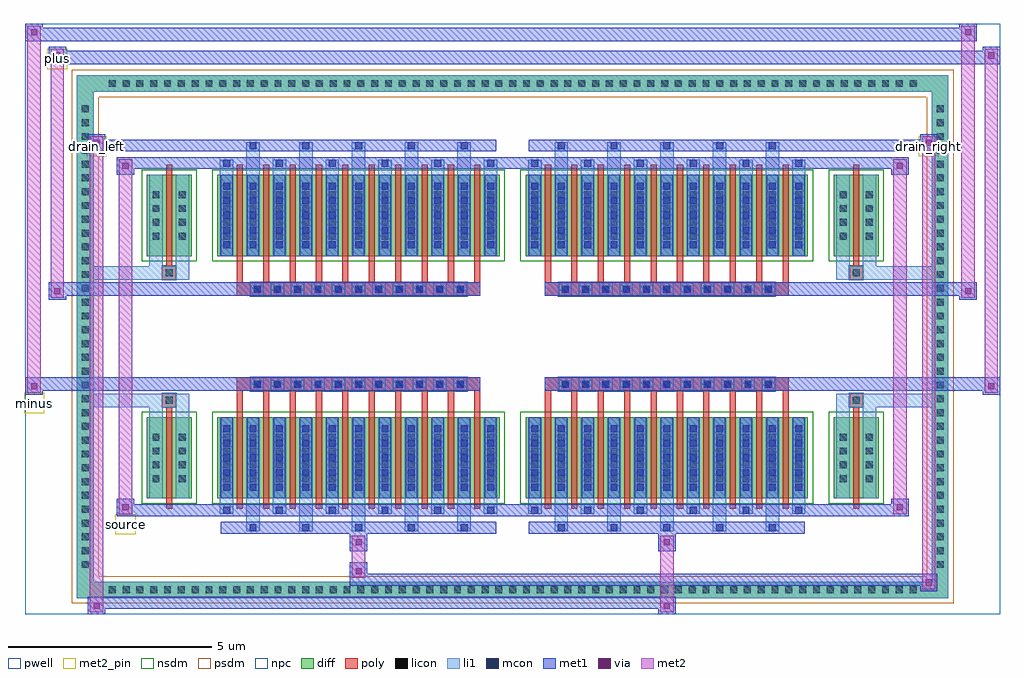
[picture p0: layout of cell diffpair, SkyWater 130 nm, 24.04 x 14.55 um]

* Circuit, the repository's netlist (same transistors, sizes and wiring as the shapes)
* NGSPICE file created from diffpair.ext - technology: sky130A

.subckt diffpair minus drain_right drain_left source plus
X0 drain_left plus source a_n2146_n1288# sky130_fd_pr__nfet_01v8 ad=0.5 pd=2.5 as=0.5 ps=2.5 w=2 l=0.15
X1 source minus drain_right a_n2146_n1288# sky130_fd_pr__nfet_01v8 ad=0.5 pd=2.5 as=0.5 ps=2.5 w=2 l=0.15
X2 a_n2146_n1288# a_n2146_n1288# a_n2146_n1288# a_n2146_n1288# sky130_fd_pr__nfet_01v8 ad=0.95 pd=4.95 as=7.6 ps=39.6 w=2 l=0.15
X3 source minus drain_right a_n2146_n1288# sky130_fd_pr__nfet_01v8 ad=0.95 pd=4.95 as=0.5 ps=2.5 w=2 l=0.15
X4 drain_right minus source a_n2146_n1288# sky130_fd_pr__nfet_01v8 ad=0.5 pd=2.5 as=0.95 ps=4.95 w=2 l=0.15
X5 a_n2146_n1288# a_n2146_n1288# a_n2146_n1288# a_n2146_n1288# sky130_fd_pr__nfet_01v8 ad=0.95 pd=4.95 as=0 ps=0 w=2 l=0.15
X6 source plus drain_left a_n2146_n1288# sky130_fd_pr__nfet_01v8 ad=0.5 pd=2.5 as=0.5 ps=2.5 w=2 l=0.15
X7 drain_left plus source a_n2146_n1288# sky130_fd_pr__nfet_01v8 ad=0.5 pd=2.5 as=0.5 ps=2.5 w=2 l=0.15
X8 source minus drain_right a_n2146_n1288# sky130_fd_pr__nfet_01v8 ad=0.5 pd=2.5 as=0.5 ps=2.5 w=2 l=0.15
X9 drain_left plus source a_n2146_n1288# sky130_fd_pr__nfet_01v8 ad=0.5 pd=2.5 as=0.5 ps=2.5 w=2 l=0.15
X10 source plus drain_left a_n2146_n1288# sky130_fd_pr__nfet_01v8 ad=0.5 pd=2.5 as=0.5 ps=2.5 w=2 l=0.15
X11 a_n2146_n1288# a_n2146_n1288# a_n2146_n1288# a_n2146_n1288# sky130_fd_pr__nfet_01v8 ad=0.95 pd=4.95 as=0 ps=0 w=2 l=0.15
X12 drain_right minus source a_n2146_n1288# sky130_fd_pr__nfet_01v8 ad=0.5 pd=2.5 as=0.5 ps=2.5 w=2 l=0.15
X13 drain_left plus source a_n2146_n1288# sky130_fd_pr__nfet_01v8 ad=0.5 pd=2.5 as=0.5 ps=2.5 w=2 l=0.15
X14 source minus drain_right a_n2146_n1288# sky130_fd_pr__nfet_01v8 ad=0.5 pd=2.5 as=0.5 ps=2.5 w=2 l=0.15
X15 a_n2146_n1288# a_n2146_n1288# a_n2146_n1288# a_n2146_n1288# sky130_fd_pr__nfet_01v8 ad=0.95 pd=4.95 as=0 ps=0 w=2 l=0.15
X16 source minus drain_right a_n2146_n1288# sky130_fd_pr__nfet_01v8 ad=0.5 pd=2.5 as=0.5 ps=2.5 w=2 l=0.15
X17 drain_right minus source a_n2146_n1288# sky130_fd_pr__nfet_01v8 ad=0.5 pd=2.5 as=0.95 ps=4.95 w=2 l=0.15
X18 drain_right minus source a_n2146_n1288# sky130_fd_pr__nfet_01v8 ad=0.5 pd=2.5 as=0.5 ps=2.5 w=2 l=0.15
X19 source plus drain_left a_n2146_n1288# sky130_fd_pr__nfet_01v8 ad=0.5 pd=2.5 as=0.5 ps=2.5 w=2 l=0.15
X20 source minus drain_right a_n2146_n1288# sky130_fd_pr__nfet_01v8 ad=0.5 pd=2.5 as=0.5 ps=2.5 w=2 l=0.15
X21 drain_right minus source a_n2146_n1288# sky130_fd_pr__nfet_01v8 ad=0.5 pd=2.5 as=0.5 ps=2.5 w=2 l=0.15
X22 drain_right minus source a_n2146_n1288# sky130_fd_pr__nfet_01v8 ad=0.5 pd=2.5 as=0.5 ps=2.5 w=2 l=0.15
X23 drain_right minus source a_n2146_n1288# sky130_fd_pr__nfet_01v8 ad=0.5 pd=2.5 as=0.5 ps=2.5 w=2 l=0.15
X24 source plus drain_left a_n2146_n1288# sky130_fd_pr__nfet_01v8 ad=0.5 pd=2.5 as=0.5 ps=2.5 w=2 l=0.15
X25 drain_left plus source a_n2146_n1288# sky130_fd_pr__nfet_01v8 ad=0.5 pd=2.5 as=0.5 ps=2.5 w=2 l=0.15
X26 source plus drain_left a_n2146_n1288# sky130_fd_pr__nfet_01v8 ad=0.95 pd=4.95 as=0.5 ps=2.5 w=2 l=0.15
X27 drain_right minus source a_n2146_n1288# sky130_fd_pr__nfet_01v8 ad=0.5 pd=2.5 as=0.5 ps=2.5 w=2 l=0.15
X28 drain_right minus source a_n2146_n1288# sky130_fd_pr__nfet_01v8 ad=0.5 pd=2.5 as=0.5 ps=2.5 w=2 l=0.15
X29 source minus drain_right a_n2146_n1288# sky130_fd_pr__nfet_01v8 ad=0.5 pd=2.5 as=0.5 ps=2.5 w=2 l=0.15
X30 source minus drain_right a_n2146_n1288# sky130_fd_pr__nfet_01v8 ad=0.5 pd=2.5 as=0.5 ps=2.5 w=2 l=0.15
X31 drain_left plus source a_n2146_n1288# sky130_fd_pr__nfet_01v8 ad=0.5 pd=2.5 as=0.5 ps=2.5 w=2 l=0.15
X32 source minus drain_right a_n2146_n1288# sky130_fd_pr__nfet_01v8 ad=0.5 pd=2.5 as=0.5 ps=2.5 w=2 l=0.15
X33 source plus drain_left a_n2146_n1288# sky130_fd_pr__nfet_01v8 ad=0.95 pd=4.95 as=0.5 ps=2.5 w=2 l=0.15
X34 drain_left plus source a_n2146_n1288# sky130_fd_pr__nfet_01v8 ad=0.5 pd=2.5 as=0.95 ps=4.95 w=2 l=0.15
X35 drain_left plus source a_n2146_n1288# sky130_fd_pr__nfet_01v8 ad=0.5 pd=2.5 as=0.95 ps=4.95 w=2 l=0.15
X36 source plus drain_left a_n2146_n1288# sky130_fd_pr__nfet_01v8 ad=0.5 pd=2.5 as=0.5 ps=2.5 w=2 l=0.15
X37 source plus drain_left a_n2146_n1288# sky130_fd_pr__nfet_01v8 ad=0.5 pd=2.5 as=0.5 ps=2.5 w=2 l=0.15
X38 source minus drain_right a_n2146_n1288# sky130_fd_pr__nfet_01v8 ad=0.95 pd=4.95 as=0.5 ps=2.5 w=2 l=0.15
X39 drain_right minus source a_n2146_n1288# sky130_fd_pr__nfet_01v8 ad=0.5 pd=2.5 as=0.5 ps=2.5 w=2 l=0.15
X40 source plus drain_left a_n2146_n1288# sky130_fd_pr__nfet_01v8 ad=0.5 pd=2.5 as=0.5 ps=2.5 w=2 l=0.15
X41 drain_left plus source a_n2146_n1288# sky130_fd_pr__nfet_01v8 ad=0.5 pd=2.5 as=0.5 ps=2.5 w=2 l=0.15
X42 drain_left plus source a_n2146_n1288# sky130_fd_pr__nfet_01v8 ad=0.5 pd=2.5 as=0.5 ps=2.5 w=2 l=0.15
X43 source plus drain_left a_n2146_n1288# sky130_fd_pr__nfet_01v8 ad=0.5 pd=2.5 as=0.5 ps=2.5 w=2 l=0.15
.ends

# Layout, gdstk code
import gdstk
lib = gdstk.Library(unit=1e-6, precision=5e-09)
def R(c, l, rs):  # rectangles x0, y0, x1, y1
    for r in rs: c.add(gdstk.rectangle(r[:2], r[2:], *l))
def A(c, l, x, y, w, h, nx, ny, dx, dy):  # array of equal rectangles
    R(c, l, [(x+i*dx, y+j*dy, x+i*dx+w, y+j*dy+h) for i in range(nx) for j in range(ny)])
def P(c, l, *ps):  # polygons
    for p in ps: c.add(gdstk.Polygon(p, *l))
pwell = (64, 44)
diff = (65, 20)
poly = (66, 20)
licon = (66, 44)
li1 = (67, 20)
mcon = (67, 44)
met1 = (68, 20)
via = (68, 44)
met2_pin = (69, 16)
met2 = (69, 20)
nsdm = (93, 44)
psdm = (94, 20)
npc = (95, 20)

diffpair = lib.new_cell('diffpair')
R(diffpair, pwell, [(-12,-6.84,12,7.71), (-9.32,-5.03,-0.01,-0.805), (0.01,-5.03,9.32,-0.805), (-9.32,0.805,-0.01,5.03), (0.01,0.805,9.32,5.03)])
A(diffpair, diff, -10.065, -6.44, 0.41, 0.41, 59, 2, 0.34, 12.47)
A(diffpair, diff, -10.73, -5.815, 0.41, 0.41, 1, 34, 0, 0.34)
A(diffpair, diff, 10.32, -5.815, 0.41, 0.41, 1, 34, 0, 0.34)
R(diffpair, diff, [(-10.065,-6.44,10.065,-6.03), (-10.73,-5.815,-10.32,5.815), (10.32,-5.815,10.73,5.815), (-9.01,-3.985,-7.91,-1.985), (-7.27,-3.985,-0.32,-1.985), (0.32,-3.985,7.27,-1.985), (7.91,-3.985,9.01,-1.985), (-9.01,1.985,-7.91,3.985), (-7.27,1.985,-0.32,3.985), (0.32,1.985,7.27,3.985), (7.91,1.985,9.01,3.985), (-10.065,6.03,10.065,6.44)])
P(diffpair, diff, [(10.73,6.44),(-10.73,6.44),(-10.73,-6.03),(-10.32,-6.03),(-10.32,6.03),(10.32,6.03),(10.32,-6.03),(-10.32,-6.03),(-10.73,-6.03),(-10.73,-6.44),(10.73,-6.44)])
A(diffpair, poly, -6.795, -4.235, 0.15, 2.5, 10, 2, 0.65, 5.97)
A(diffpair, poly, 0.795, -4.235, 0.15, 2.5, 10, 2, 0.65, 5.97)
A(diffpair, poly, -6.795, -1.735, 0.15, 0.4, 10, 2, 0.65, 3.07)
A(diffpair, poly, 0.795, -1.735, 0.15, 0.4, 10, 2, 0.65, 3.07)
A(diffpair, poly, -6.46, -1.335, 0.33, 0.33, 11, 2, 0.5, 2.34)
A(diffpair, poly, 1.13, -1.335, 0.33, 0.33, 11, 2, 0.5, 2.34)
R(diffpair, poly, [(-8.535,-4.235,-8.385,-1.735), (8.385,-4.235,8.535,-1.735), (-8.625,-1.735,-8.295,-1.405), (-8.625,-1.735,-8.295,-1.405), (8.295,-1.735,8.625,-1.405), (8.295,-1.735,8.625,-1.405), (-6.795,-1.335,-0.795,-1.005), (0.795,-1.335,6.795,-1.005), (-6.795,1.005,-0.795,1.335), (0.795,1.005,6.795,1.335), (-8.625,1.405,-8.295,1.735), (-8.625,1.405,-8.295,1.735), (8.295,1.405,8.625,1.735), (8.295,1.405,8.625,1.735), (-8.535,1.735,-8.385,4.235), (8.385,1.735,8.535,4.235)])
A(diffpair, licon, -9.945, -6.32, 0.17, 0.17, 59, 2, 0.34, 12.47)
A(diffpair, licon, -10.61, -5.695, 0.17, 0.17, 1, 34, 0, 0.34)
A(diffpair, licon, 10.44, -5.695, 0.17, 0.17, 1, 34, 0, 0.34)
A(diffpair, licon, -8.87, -3.58, 0.17, 0.17, 1, 4, 0, 0.34)
A(diffpair, licon, -8.22, -3.58, 0.17, 0.17, 1, 4, 0, 0.34)
A(diffpair, licon, -7.13, -3.58, 0.17, 0.17, 11, 4, 0.65, 0.34)
A(diffpair, licon, 0.46, -3.58, 0.17, 0.17, 11, 4, 0.65, 0.34)
A(diffpair, licon, 8.05, -3.58, 0.17, 0.17, 1, 4, 0, 0.34)
A(diffpair, licon, 8.7, -3.58, 0.17, 0.17, 1, 4, 0, 0.34)
A(diffpair, licon, -6.38, -1.255, 0.17, 0.17, 11, 2, 0.5, 2.34)
A(diffpair, licon, 1.21, -1.255, 0.17, 0.17, 11, 2, 0.5, 2.34)
A(diffpair, licon, -8.87, 2.39, 0.17, 0.17, 1, 4, 0, 0.34)
A(diffpair, licon, -8.22, 2.39, 0.17, 0.17, 1, 4, 0, 0.34)
A(diffpair, licon, -7.13, 2.39, 0.17, 0.17, 11, 4, 0.65, 0.34)
A(diffpair, licon, 0.46, 2.39, 0.17, 0.17, 11, 4, 0.65, 0.34)
A(diffpair, licon, 8.05, 2.39, 0.17, 0.17, 1, 4, 0, 0.34)
A(diffpair, licon, 8.7, 2.39, 0.17, 0.17, 1, 4, 0, 0.34)
R(diffpair, licon, [(-8.545,-1.655,-8.375,-1.485), (8.375,-1.655,8.545,-1.485), (-8.545,1.485,-8.375,1.655), (8.375,1.485,8.545,1.655)])
A(diffpair, li1, -10.025, -6.4, 0.33, 0.33, 59, 2, 0.34, 12.47)
A(diffpair, li1, -10.69, -5.775, 0.33, 0.33, 1, 34, 0, 0.34)
A(diffpair, li1, 10.36, -5.775, 0.33, 0.33, 1, 34, 0, 0.34)
A(diffpair, li1, -6.56, -4.79, 0.33, 0.805, 5, 2, 1.3, 8.775)
A(diffpair, li1, -6.48, -4.79, 0.17, 0.17, 5, 2, 1.3, 9.41)
A(diffpair, li1, 1.03, -4.79, 0.33, 0.805, 5, 2, 1.3, 8.775)
A(diffpair, li1, 1.11, -4.79, 0.17, 0.17, 5, 2, 1.3, 9.41)
A(diffpair, li1, -7.21, -4.36, 0.33, 0.375, 6, 2, 1.3, 8.345)
A(diffpair, li1, -7.13, -4.36, 0.17, 0.17, 6, 2, 1.3, 8.55)
A(diffpair, li1, 0.38, -4.36, 0.33, 0.375, 6, 2, 1.3, 8.345)
A(diffpair, li1, 0.46, -4.36, 0.17, 0.17, 6, 2, 1.3, 8.55)
A(diffpair, li1, -7.21, -3.985, 0.33, 2, 11, 2, 0.65, 5.97)
A(diffpair, li1, 0.38, -3.985, 0.33, 2, 11, 2, 0.65, 5.97)
A(diffpair, li1, -7.13, -3.79, 0.17, 0.17, 11, 5, 0.65, 0.36)
A(diffpair, li1, -7.13, -3.79, 0.17, 1.61, 11, 2, 0.65, 5.97)
A(diffpair, li1, 0.46, -3.79, 0.17, 0.17, 11, 5, 0.65, 0.36)
A(diffpair, li1, 0.46, -3.79, 0.17, 1.61, 11, 2, 0.65, 5.97)
A(diffpair, li1, -8.95, -3.66, 0.33, 0.33, 1, 4, 0, 0.34)
A(diffpair, li1, -8.3, -3.66, 0.33, 0.33, 1, 4, 0, 0.34)
A(diffpair, li1, -7.21, -3.66, 0.33, 0.33, 11, 4, 0.65, 0.34)
A(diffpair, li1, 0.38, -3.66, 0.33, 0.33, 11, 4, 0.65, 0.34)
A(diffpair, li1, 7.97, -3.66, 0.33, 0.33, 1, 4, 0, 0.34)
A(diffpair, li1, 8.62, -3.66, 0.33, 0.33, 1, 4, 0, 0.34)
A(diffpair, li1, -6.46, -1.335, 0.33, 0.33, 11, 2, 0.5, 2.34)
A(diffpair, li1, 1.13, -1.335, 0.33, 0.33, 11, 2, 0.5, 2.34)
A(diffpair, li1, -7.13, 2.18, 0.17, 0.17, 11, 5, 0.65, 0.36)
A(diffpair, li1, 0.46, 2.18, 0.17, 0.17, 11, 5, 0.65, 0.36)
A(diffpair, li1, -8.95, 2.31, 0.33, 0.33, 1, 4, 0, 0.34)
A(diffpair, li1, -8.3, 2.31, 0.33, 0.33, 1, 4, 0, 0.34)
A(diffpair, li1, -7.21, 2.31, 0.33, 0.33, 11, 4, 0.65, 0.34)
A(diffpair, li1, 0.38, 2.31, 0.33, 0.33, 11, 4, 0.65, 0.34)
A(diffpair, li1, 7.97, 2.31, 0.33, 0.33, 1, 4, 0, 0.34)
A(diffpair, li1, 8.62, 2.31, 0.33, 0.33, 1, 4, 0, 0.34)
R(diffpair, li1, [(-10.73,-6.44,-10.32,-6.03), (-10.73,-6.44,-10.32,-6.03), (-10.32,-6.44,10.32,-6.03), (10.32,-6.44,10.73,-6.03), (10.32,-6.44,10.73,-6.03), (-10.73,-6.03,-10.32,6.03), (10.32,-6.03,10.73,6.03), (-8.95,-3.985,-8.62,-1.985), (-8.3,-3.985,-7.97,-1.985), (7.97,-3.985,8.3,-1.985), (8.62,-3.985,8.95,-1.985), (-8.95,-1.985,-8.62,-1.405), (-8.3,-1.985,-7.97,-1.405), (7.97,-1.985,8.3,-1.405), (8.62,-1.985,8.95,-1.405), (-10.73,-1.735,-8.625,-1.405), (-8.95,-1.735,-8.625,-1.405), (-8.625,-1.735,-8.295,-1.405), (-8.295,-1.735,-7.97,-1.405), (7.97,-1.735,8.295,-1.405), (8.295,-1.735,8.625,-1.405), (8.295,-1.735,10.73,-1.405), (8.625,-1.735,8.95,-1.405), (-10.73,1.405,-8.625,1.735), (-8.95,1.405,-8.625,1.735), (-8.95,1.405,-8.62,1.985), (-8.625,1.405,-8.295,1.735), (-8.3,1.405,-7.97,1.985), (-8.295,1.405,-7.97,1.735), (7.97,1.405,8.295,1.735), (7.97,1.405,8.3,1.985), (8.295,1.405,8.625,1.735), (8.295,1.405,10.73,1.735), (8.62,1.405,8.95,1.985), (8.625,1.405,8.95,1.735), (-8.95,1.985,-8.62,3.985), (-8.3,1.985,-7.97,3.985), (7.97,1.985,8.3,3.985), (8.62,1.985,8.95,3.985), (-10.73,6.03,-10.32,6.44), (-10.73,6.03,-10.32,6.44), (-10.32,6.03,10.32,6.44), (10.32,6.03,10.73,6.44), (10.32,6.03,10.73,6.44)])
A(diffpair, mcon, -6.48, -4.79, 0.17, 0.17, 5, 2, 1.3, 9.41)
A(diffpair, mcon, 1.11, -4.79, 0.17, 0.17, 5, 2, 1.3, 9.41)
A(diffpair, mcon, -7.13, -4.36, 0.17, 0.17, 6, 2, 1.3, 8.55)
A(diffpair, mcon, 0.46, -4.36, 0.17, 0.17, 6, 2, 1.3, 8.55)
A(diffpair, mcon, -7.13, -3.79, 0.17, 0.17, 11, 5, 0.65, 0.36)
A(diffpair, mcon, 0.46, -3.79, 0.17, 0.17, 11, 5, 0.65, 0.36)
A(diffpair, mcon, -6.38, -1.255, 0.17, 0.17, 11, 2, 0.5, 2.34)
A(diffpair, mcon, 1.21, -1.255, 0.17, 0.17, 11, 2, 0.5, 2.34)
A(diffpair, mcon, -7.13, 2.18, 0.17, 0.17, 11, 5, 0.65, 0.36)
A(diffpair, mcon, 0.46, 2.18, 0.17, 0.17, 11, 5, 0.65, 0.36)
A(diffpair, met1, -6.54, -4.85, 0.29, 0.29, 5, 2, 1.3, 9.41)
A(diffpair, met1, 1.05, -4.85, 0.29, 0.29, 5, 2, 1.3, 9.41)
A(diffpair, met1, -7.19, -4.42, 0.29, 0.29, 6, 2, 1.3, 8.55)
A(diffpair, met1, 0.4, -4.42, 0.29, 0.29, 6, 2, 1.3, 8.55)
A(diffpair, met1, -7.19, -3.985, 0.29, 2, 11, 2, 0.65, 5.97)
A(diffpair, met1, 0.4, -3.985, 0.29, 2, 11, 2, 0.65, 5.97)
A(diffpair, met1, -7.19, -3.85, 0.29, 0.29, 11, 5, 0.65, 0.36)
A(diffpair, met1, 0.4, -3.85, 0.29, 0.29, 11, 5, 0.65, 0.36)
A(diffpair, met1, -6.44, -1.315, 0.29, 0.29, 11, 2, 0.5, 2.34)
A(diffpair, met1, 1.15, -1.315, 0.29, 0.29, 11, 2, 0.5, 2.34)
A(diffpair, met1, -7.19, 2.12, 0.29, 0.29, 11, 5, 0.65, 0.36)
A(diffpair, met1, 0.4, 2.12, 0.29, 0.29, 11, 5, 0.65, 0.36)
R(diffpair, met1, [(-10.46,-6.84,-10.03,-6.41), (3.58,-6.84,4.01,-6.41), (-10.46,-6.7,4.01,-6.41), (10.03,-6.27,10.46,-5.84), (-4.01,-6.13,10.46,-5.84), (-4.01,-5.99,-3.58,-5.56), (-4.01,-5.28,-3.58,-4.85), (3.58,-5.28,4.01,-4.85), (-7.19,-4.85,-0.4,-4.56), (0.4,-4.85,7.19,-4.56), (-9.75,-4.42,-9.32,-3.99), (-9.75,-4.42,-7.19,-4.13), (-7.19,-4.42,-0.4,-4.13), (-0.4,-4.42,0.4,-4.13), (0.4,-4.42,7.19,-4.13), (7.19,-4.42,9.75,-4.13), (9.32,-4.42,9.75,-3.99), (-12,-1.435,-11.57,-1.005), (11.57,-1.435,12,-1.005), (-12,-1.335,-0.795,-1.005), (-6.795,-1.335,-0.795,-1.005), (0.795,-1.335,6.795,-1.005), (0.795,-1.335,12,-1.005), (-11.43,0.905,-11,1.335), (11,0.905,11.43,1.335), (-11.43,1.005,-6.795,1.335), (-6.795,1.005,-0.795,1.335), (0.795,1.005,6.795,1.335), (6.795,1.005,11.43,1.335), (-9.75,3.99,-9.32,4.42), (9.32,3.99,9.75,4.42), (-9.75,4.13,-7.19,4.42), (-7.19,4.13,-0.4,4.42), (-0.4,4.13,0.4,4.42), (0.4,4.13,7.19,4.42), (7.19,4.13,9.75,4.42), (-10.46,4.56,-10.03,4.99), (-10.46,4.56,-7.19,4.85), (-7.19,4.56,-0.4,4.85), (0.4,4.56,7.19,4.85), (7.19,4.56,10.46,4.85), (10.03,4.56,10.46,4.99), (-11.43,6.71,-11,7.14), (-11.43,6.71,-9.32,7.04), (-9.32,6.71,9.32,7.04), (9.32,6.71,12,7.04), (11.57,6.71,12,7.14), (-12,7.28,-11.57,7.71), (-12,7.28,-9.32,7.61), (-9.32,7.28,9.32,7.61), (9.32,7.28,11.43,7.61), (11,7.28,11.43,7.71)])
R(diffpair, via, [(-10.32,-6.7,-10.17,-6.55), (3.72,-6.7,3.87,-6.55), (10.17,-6.13,10.32,-5.98), (-3.87,-5.85,-3.72,-5.7), (-3.87,-5.14,-3.72,-4.99), (3.72,-5.14,3.87,-4.99), (-9.61,-4.28,-9.46,-4.13), (9.46,-4.28,9.61,-4.13), (-11.86,-1.295,-11.71,-1.145), (11.71,-1.295,11.86,-1.145), (-11.29,1.045,-11.14,1.195), (11.14,1.045,11.29,1.195), (-9.61,4.13,-9.46,4.28), (9.46,4.13,9.61,4.28), (-10.32,4.7,-10.17,4.85), (10.17,4.7,10.32,4.85), (-11.29,6.85,-11.14,7), (11.71,6.85,11.86,7), (-11.86,7.42,-11.71,7.57), (11.14,7.42,11.29,7.57)])
R(diffpair, met2_pin, [(-9.785,-4.87,-9.285,-4.37), (-12.035,-1.885,-11.535,-1.385), (-10.495,4.44,-9.995,4.94), (9.995,4.44,10.495,4.94), (-11.465,6.59,-10.965,7.09)])
R(diffpair, met2, [(-10.41,-6.79,-10.08,-6.46), (-10.41,-6.79,-10.08,4.94), (3.63,-6.79,3.96,-6.46), (3.63,-6.46,3.96,-5.23), (10.08,-6.22,10.41,-5.89), (10.08,-6.22,10.41,4.94), (-3.96,-5.94,-3.63,-5.61), (-3.96,-5.61,-3.63,-5.23), (-3.96,-5.23,-3.63,-4.9), (3.63,-5.23,3.96,-4.9), (-9.7,-4.37,-9.37,-4.04), (-9.7,-4.37,-9.37,4.37), (9.37,-4.37,9.7,-4.04), (9.37,-4.37,9.7,4.37), (-11.95,-1.385,-11.62,-1.055), (-11.95,-1.385,-11.62,7.66), (11.62,-1.385,11.95,-1.055), (11.62,-1.385,11.95,7.09), (-11.38,0.955,-11.05,1.285), (-11.38,0.955,-11.05,7.09), (11.05,0.955,11.38,1.285), (11.05,0.955,11.38,7.66), (-9.7,4.04,-9.37,4.37), (9.37,4.04,9.7,4.37), (-10.41,4.61,-10.08,4.94), (10.08,4.61,10.41,4.94), (-11.38,6.76,-11.05,7.09), (11.62,6.76,11.95,7.09), (-11.95,7.33,-11.62,7.66), (11.05,7.33,11.38,7.66)])
P(diffpair, met2, [(11.95,-1.385),(11.95,-1.385),(11.95,-1.055),(11.95,-1.055)],
  [(11.95,6.76),(11.95,6.76),(11.95,7.09),(11.95,7.09)],
  [(-11.62,-1.385),(-11.62,-1.385),(-11.62,-1.055),(-11.62,-1.055)],
  [(-11.62,7.33),(-11.62,7.33),(-11.62,7.66),(-11.62,7.66)],
  [(11.38,0.955),(11.38,0.955),(11.38,1.285),(11.38,1.285)],
  [(11.38,7.33),(11.38,7.33),(11.38,7.66),(11.38,7.66)],
  [(-11.05,0.955),(-11.05,0.955),(-11.05,1.285),(-11.05,1.285)],
  [(-11.05,6.76),(-11.05,6.76),(-11.05,7.09),(-11.05,7.09)],
  [(-10.08,-6.79),(-10.08,-6.79),(-10.08,-6.46),(-10.08,-6.46)],
  [(-10.08,4.61),(-10.08,4.61),(-10.08,4.94),(-10.08,4.94)],
  [(10.41,-6.22),(10.41,-6.22),(10.41,-5.89),(10.41,-5.89)],
  [(10.41,4.61),(10.41,4.61),(10.41,4.94),(10.41,4.94)],
  [(-9.37,-4.37),(-9.37,-4.37),(-9.37,-4.04),(-9.37,-4.04)],
  [(-9.37,4.04),(-9.37,4.04),(-9.37,4.37),(-9.37,4.37)],
  [(9.7,-4.37),(9.7,-4.37),(9.7,-4.04),(9.7,-4.04)],
  [(9.7,4.04),(9.7,4.04),(9.7,4.37),(9.7,4.37)])
R(diffpair, nsdm, [(-9.14,-4.115,-7.78,-1.855), (-7.4,-4.115,-0.19,-1.855), (0.19,-4.115,7.4,-1.855), (7.78,-4.115,9.14,-1.855), (-9.14,1.855,-7.78,4.115), (-7.4,1.855,-0.19,4.115), (0.19,1.855,7.4,4.115), (7.78,1.855,9.14,4.115)])
P(diffpair, psdm, [(10.86,6.57),(-10.86,6.57),(-10.86,-5.9),(-10.19,-5.9),(-10.19,5.9),(10.19,5.9),(10.19,-5.9),(-10.19,-5.9),(-10.86,-5.9),(-10.86,-6.57),(10.86,-6.57)])
A(diffpair, npc, -6.48, -1.355, 0.37, 0.37, 11, 2, 0.5, 2.34)
A(diffpair, npc, 1.11, -1.355, 0.37, 0.37, 11, 2, 0.5, 2.34)
R(diffpair, npc, [(-8.645,-1.755,-8.275,-1.385), (8.275,-1.755,8.645,-1.385), (-6.48,-1.355,-5.61,-0.985), (-6.48,-1.355,-5.61,-0.985), (-5.98,-1.355,-5.11,-0.985), (-5.98,-1.355,-5.11,-0.985), (-5.48,-1.355,-4.61,-0.985), (-5.48,-1.355,-4.61,-0.985), (-4.98,-1.355,-4.11,-0.985), (-4.98,-1.355,-4.11,-0.985), (-4.48,-1.355,-3.61,-0.985), (-4.48,-1.355,-3.61,-0.985), (-3.98,-1.355,-3.11,-0.985), (-3.98,-1.355,-3.11,-0.985), (-3.48,-1.355,-2.61,-0.985), (-3.48,-1.355,-2.61,-0.985), (-2.98,-1.355,-2.11,-0.985), (-2.98,-1.355,-2.11,-0.985), (-2.48,-1.355,-1.61,-0.985), (-2.48,-1.355,-1.61,-0.985), (-1.98,-1.355,-1.11,-0.985), (-1.98,-1.355,-1.11,-0.985), (1.11,-1.355,1.98,-0.985), (1.11,-1.355,1.98,-0.985), (1.61,-1.355,2.48,-0.985), (1.61,-1.355,2.48,-0.985), (2.11,-1.355,2.98,-0.985), (2.11,-1.355,2.98,-0.985), (2.61,-1.355,3.48,-0.985), (2.61,-1.355,3.48,-0.985), (3.11,-1.355,3.98,-0.985), (3.11,-1.355,3.98,-0.985), (3.61,-1.355,4.48,-0.985), (3.61,-1.355,4.48,-0.985), (4.11,-1.355,4.98,-0.985), (4.11,-1.355,4.98,-0.985), (4.61,-1.355,5.48,-0.985), (4.61,-1.355,5.48,-0.985), (5.11,-1.355,5.98,-0.985), (5.11,-1.355,5.98,-0.985), (5.61,-1.355,6.48,-0.985), (5.61,-1.355,6.48,-0.985), (-6.48,0.985,-5.61,1.355), (-6.48,0.985,-5.61,1.355), (-5.98,0.985,-5.11,1.355), (-5.98,0.985,-5.11,1.355), (-5.48,0.985,-4.61,1.355), (-5.48,0.985,-4.61,1.355), (-4.98,0.985,-4.11,1.355), (-4.98,0.985,-4.11,1.355), (-4.48,0.985,-3.61,1.355), (-4.48,0.985,-3.61,1.355), (-3.98,0.985,-3.11,1.355), (-3.98,0.985,-3.11,1.355), (-3.48,0.985,-2.61,1.355), (-3.48,0.985,-2.61,1.355), (-2.98,0.985,-2.11,1.355), (-2.98,0.985,-2.11,1.355), (-2.48,0.985,-1.61,1.355), (-2.48,0.985,-1.61,1.355), (-1.98,0.985,-1.11,1.355), (-1.98,0.985,-1.11,1.355), (1.11,0.985,1.98,1.355), (1.11,0.985,1.98,1.355), (1.61,0.985,2.48,1.355), (1.61,0.985,2.48,1.355), (2.11,0.985,2.98,1.355), (2.11,0.985,2.98,1.355), (2.61,0.985,3.48,1.355), (2.61,0.985,3.48,1.355), (3.11,0.985,3.98,1.355), (3.11,0.985,3.98,1.355), (3.61,0.985,4.48,1.355), (3.61,0.985,4.48,1.355), (4.11,0.985,4.98,1.355), (4.11,0.985,4.98,1.355), (4.61,0.985,5.48,1.355), (4.61,0.985,5.48,1.355), (5.11,0.985,5.98,1.355), (5.11,0.985,5.98,1.355), (5.61,0.985,6.48,1.355), (5.61,0.985,6.48,1.355), (-8.645,1.385,-8.275,1.755), (8.275,1.385,8.645,1.755)])
diffpair.add(gdstk.Label('minus', (-11.785,-1.635), layer=69, texttype=5))
diffpair.add(gdstk.Label('drain_right', (10.245,4.69), layer=69, texttype=5))
diffpair.add(gdstk.Label('drain_left', (-10.245,4.69), layer=69, texttype=5))
diffpair.add(gdstk.Label('source', (-9.535,-4.62), layer=69, texttype=5))
diffpair.add(gdstk.Label('plus', (-11.215,6.84), layer=69, texttype=5))

lib.write_gds('diffpair.gds')
